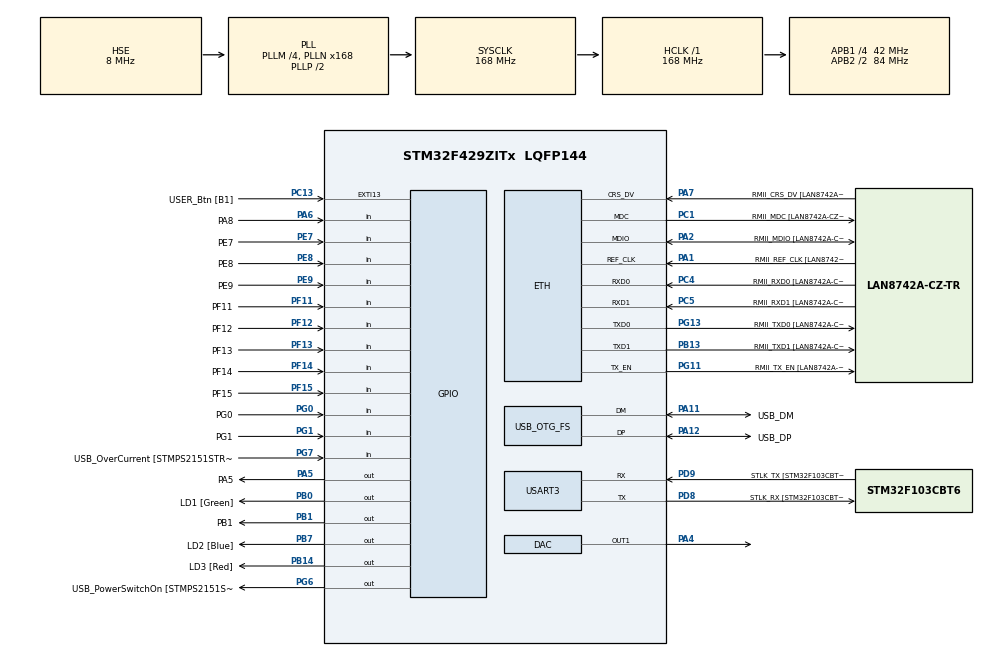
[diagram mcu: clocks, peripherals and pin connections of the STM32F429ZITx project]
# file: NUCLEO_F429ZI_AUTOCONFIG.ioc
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DAC.DAC_Trigger=DAC_TRIGGER_T7_TRGO
DAC.TriangleAmplitude=DAC_TRIANGLEAMPLITUDE_1023
DAC.WaveGeneration=TriangleWaveGeneration
Dma.Request0=USART3_RX
Dma.USART3_RX.0.Direction=DMA_PERIPH_TO_MEMORY
Dma.USART3_RX.0.FIFOMode=DMA_FIFOMODE_DISABLE
Dma.USART3_RX.0.Instance=DMA1_Stream1
Dma.USART3_RX.0.MemDataAlignment=DMA_MDATAALIGN_BYTE
Dma.USART3_RX.0.MemInc=DMA_MINC_ENABLE
Dma.USART3_RX.0.Mode=DMA_CIRCULAR
Dma.USART3_RX.0.PeriphDataAlignment=DMA_PDATAALIGN_BYTE
Dma.USART3_RX.0.PeriphInc=DMA_PINC_DISABLE
Dma.USART3_RX.0.Priority=DMA_PRIORITY_LOW
ETH.MACAddr=00\:80\:E1\:01\:23\:45
ETH.MediaInterface=HAL_ETH_RMII_MODE
ETH.PHY_Name=LAN8742A_PHY_ADDRESS
ETH.PHY_Value=0
ETH.PhyAddress=0
FREERTOS.Tasks01=defaultTask,0,1024,StartDefaultTask,Default,NULL,Dynamic,NULL,NULL
FREERTOS.configTOTAL_HEAP_SIZE=32768
LWIP.BSP.number=1
LWIP.Version=v2.1.2_Cube
LWIP0.BSP.STBoard=false
LWIP0.BSP.api=BSP_COMPONENT_DRIVER
LWIP0.BSP.component=LAN8742
LWIP0.BSP.instance=LAN8742
LWIP0.BSP.name=Driver_PHY
LWIP0.BSP.semaphore=S_LAN8742
LWIP0.BSP.solution=LAN8742
Mcu.Family=STM32F4
Mcu.Name=STM32F429ZITx
Mcu.Package=LQFP144
NVIC.DMA1_Stream1_IRQn=true\:5\:0\:false\:false\:true\:true\:false\:true\:true
NVIC.ETH_IRQn=true\:5\:0\:false\:false\:true\:true\:false\:true\:true
NVIC.PriorityGroup=NVIC_PRIORITYGROUP_4
NVIC.TIM1_BRK_TIM9_IRQn=true\:5\:0\:false\:false\:true\:true\:true\:true\:true
NVIC.TIM7_IRQn=true\:5\:0\:false\:false\:true\:true\:true\:true\:true
NVIC.TIM8_TRG_COM_TIM14_IRQn=true\:15\:0\:false\:false\:true\:false\:false\:true\:true
NVIC.TimeBase=TIM8_TRG_COM_TIM14_IRQn
NVIC.TimeBaseIP=TIM14
PA1.GPIO_Label=RMII_REF_CLK [LAN8742A-CZ-TR_REFCLK0]
PA1.Mode=RMII
PA1.Signal=ETH_REF_CLK
PA10.GPIO_Label=USB_ID
PA10.Signal=USB_OTG_FS_ID
PA11.GPIO_Label=USB_DM
PA11.Mode=Device_Only
PA11.Signal=USB_OTG_FS_DM
PA12.GPIO_Label=USB_DP
PA12.Mode=Device_Only
PA12.Signal=USB_OTG_FS_DP
PA13.GPIO_Label=TMS
PA13.Mode=Serial_Wire
PA13.Signal=SYS_JTMS-SWDIO
PA14.GPIO_Label=TCK
PA14.Mode=Serial_Wire
PA14.Signal=SYS_JTCK-SWCLK
PA2.GPIO_Label=RMII_MDIO [LAN8742A-CZ-TR_MDIO]
PA2.Mode=RMII
PA2.Signal=ETH_MDIO
PA4.Signal=COMP_DAC1_group
PA5.GPIO_Label=PA5
PA5.Signal=GPIO_Output
PA6.GPIO_Label=PA8
PA6.GPIO_Mode=GPIO_MODE_INPUT
PA6.GPIO_PuPd=GPIO_PULLUP
PA6.Signal=GPIO_Input
PA7.GPIO_Label=RMII_CRS_DV [LAN8742A-CZ-TR_CRS_DV]
PA7.Mode=RMII
PA7.Signal=ETH_CRS_DV
PA8.GPIO_Label=USB_SOF [TP1]
PA8.Signal=USB_OTG_FS_SOF
PA9.GPIO_Label=USB_VBUS
PA9.Signal=USB_OTG_FS_VBUS
PB0.GPIO_Label=LD1 [Green]
PB0.Signal=GPIO_Output
PB1.GPIO_Label=PB1
PB1.Signal=GPIO_Output
PB13.GPIO_Label=RMII_TXD1 [LAN8742A-CZ-TR_TXD1]
PB13.Mode=RMII
PB13.Signal=ETH_TXD1
PB14.GPIO_Label=LD3 [Red]
PB14.Signal=GPIO_Output
PB7.GPIO_Label=LD2 [Blue]
PB7.Signal=GPIO_Output
PC1.GPIO_Label=RMII_MDC [LAN8742A-CZ-TR_MDC]
PC1.Mode=RMII
PC1.Signal=ETH_MDC
PC13.GPIO_Label=USER_Btn [B1]
PC13.Signal=GPXTI13
PC14/OSC32_IN.Mode=LSE-External-Oscillator
PC14/OSC32_IN.Signal=RCC_OSC32_IN
PC15/OSC32_OUT.Mode=LSE-External-Oscillator
PC15/OSC32_OUT.Signal=RCC_OSC32_OUT
PC4.GPIO_Label=RMII_RXD0 [LAN8742A-CZ-TR_RXD0]
PC4.Mode=RMII
PC4.Signal=ETH_RXD0
PC5.GPIO_Label=RMII_RXD1 [LAN8742A-CZ-TR_RXD1]
PC5.Mode=RMII
PC5.Signal=ETH_RXD1
PD8.GPIO_Label=STLK_RX [STM32F103CBT6_PA3]
PD8.Mode=Asynchronous
PD8.Signal=USART3_TX
PD9.GPIO_Label=STLK_TX [STM32F103CBT6_PA2]
PD9.Mode=Asynchronous
PD9.Signal=USART3_RX
PE7.GPIO_Label=PE7
PE7.GPIO_Mode=GPIO_MODE_INPUT
PE7.GPIO_PuPd=GPIO_PULLUP
PE7.Signal=GPIO_Input
PE8.GPIO_Label=PE8
PE8.GPIO_Mode=GPIO_MODE_INPUT
PE8.GPIO_PuPd=GPIO_PULLUP
PE8.Signal=GPIO_Input
PE9.GPIO_Label=PE9
PE9.GPIO_Mode=GPIO_MODE_INPUT
PE9.GPIO_PuPd=GPIO_PULLUP
PE9.Signal=GPIO_Input
PF11.GPIO_Label=PF11
PF11.GPIO_Mode=GPIO_MODE_INPUT
PF11.GPIO_PuPd=GPIO_PULLUP
PF11.Signal=GPIO_Input
PF12.GPIO_Label=PF12
PF12.GPIO_Mode=GPIO_MODE_INPUT
PF12.GPIO_PuPd=GPIO_PULLUP
PF12.Signal=GPIO_Input
PF13.GPIO_Label=PF13
PF13.GPIO_Mode=GPIO_MODE_INPUT
PF13.GPIO_PuPd=GPIO_PULLUP
PF13.Signal=GPIO_Input
PF14.GPIO_Label=PF14
PF14.GPIO_Mode=GPIO_MODE_INPUT
PF14.GPIO_PuPd=GPIO_PULLUP
PF14.Signal=GPIO_Input
PF15.GPIO_Label=PF15
PF15.GPIO_Mode=GPIO_MODE_INPUT
PF15.GPIO_PuPd=GPIO_PULLUP
PF15.Signal=GPIO_Input
PG0.GPIO_Label=PG0
PG0.GPIO_Mode=GPIO_MODE_INPUT
PG0.GPIO_PuPd=GPIO_PULLUP
PG0.Signal=GPIO_Input
PG1.GPIO_Label=PG1
PG1.GPIO_Mode=GPIO_MODE_INPUT
PG1.GPIO_PuPd=GPIO_PULLUP
PG1.Signal=GPIO_Input
PG11.GPIO_Label=RMII_TX_EN [LAN8742A-CZ-TR_TXEN]
PG11.Mode=RMII
PG11.Signal=ETH_TX_EN
PG13.GPIO_Label=RMII_TXD0 [LAN8742A-CZ-TR_TXD0]
PG13.Mode=RMII
PG13.Signal=ETH_TXD0
PG6.GPIO_Label=USB_PowerSwitchOn [STMPS2151STR_EN]
PG6.Signal=GPIO_Output
PG7.GPIO_Label=USB_OverCurrent [STMPS2151STR_FAULT]
PG7.Signal=GPIO_Input
PH0/OSC_IN.GPIO_Label=MCO [STM32F103CBT6_PA8]
PH0/OSC_IN.Mode=HSE-External-Clock-Source
PH0/OSC_IN.Signal=RCC_OSC_IN
PH1/OSC_OUT.Mode=HSE-External-Clock-Source
PH1/OSC_OUT.Signal=RCC_OSC_OUT
ProjectManager.HeapSize=0x200
ProjectManager.StackSize=0x400
ProjectManager.TargetToolchain=Makefile
RCC.48MHZClocksFreq_Value=48000000
RCC.AHBFreq_Value=168000000
RCC.APB1CLKDivider=RCC_HCLK_DIV4
RCC.APB1Freq_Value=42000000
RCC.APB1TimFreq_Value=84000000
RCC.APB2CLKDivider=RCC_HCLK_DIV2
RCC.APB2Freq_Value=84000000
RCC.APB2TimCLKDivider=2
RCC.APB2TimFreq_Value=168000000
RCC.CortexFreq_Value=168000000
RCC.HCLKFreq_Value=168000000
RCC.HSE_VALUE=8000000
RCC.HSI_VALUE=16000000
RCC.PLLM=4
RCC.PLLMUL=RCC_PLL_MUL9
RCC.PLLN=168
RCC.PLLQ=7
RCC.PRESCALERUSB=RCC_USBCLKSOURCE_PLL_DIV1_5
RCC.SYSCLKFreq_VALUE=168000000
RCC.SYSCLKSource=RCC_SYSCLKSOURCE_PLLCLK
RCC.SYSCLKSourceVirtual=RCC_SYSCLKSOURCE_PLLCLK
RCC.USBFreq_Value=48000000
RCC.VCOOutputFreq_Value=336000000
SH.COMP_DAC1_group.0=DAC_OUT1,DAC_OUT1
TIM7.AutoReloadPreload=TIM_AUTORELOAD_PRELOAD_ENABLE
TIM7.Period=1
TIM7.Prescaler=1
TIM7.TIM_MasterOutputTrigger=TIM_TRGO_UPDATE
TIM9.AutoReloadPreload=TIM_AUTORELOAD_PRELOAD_DISABLE
TIM9.Period=1
TIM9.Prescaler=0
USART3.VirtualMode=VM_ASYNC
USB_OTG_FS.VirtualMode=Device_Only
VP_FREERTOS_VS_CMSIS_V1.Mode=CMSIS_V1
VP_LWIP_VS_Enabled.Mode=Enabled
VP_SYS_VS_tim14.Mode=TIM14
VP_TIM7_VS_ClockSourceINT.Mode=Enable_Timer
VP_TIM9_VS_ClockSourceINT.Mode=Internal
board=NUCLEO-F429ZI

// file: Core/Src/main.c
/* USER CODE BEGIN Header */
/**
  ******************************************************************************
  * @file           : main.c
  * @brief          : Main program body
  ******************************************************************************
  * @attention
  *
  * Copyright (c) 2022 STMicroelectronics.
  * All rights reserved.
  *
  * This software is licensed under terms that can be found in the LICENSE file
  * in the root directory of this software component.
  * If no LICENSE file comes with this software, it is provided AS-IS.
  *
  ******************************************************************************
  */
/* USER CODE END Header */
#include "main.h"
#include "cmsis_os.h"
#include "lwip.h"

/* USER CODE BEGIN Includes */
#include <stdio.h> //for printf
#include <string.h> //for printf
/* USER CODE END Includes */

/* USER CODE BEGIN PD */
const char * version = "date 24.08.2022, version 1.0, author: Filip Paul, contact: filip.paul@cevor.cz, mobile: +420 734 312 604";
extern void tcpecho_init(void);
extern void telnet_init(void);
extern struct netif gnetif;
uint16_t matrix_of_pins[] = {PE7_Pin, PE8_Pin, PE9_Pin, PF11_Pin, PF12_Pin, PF13_Pin, PF14_Pin, PF15_Pin};
GPIO_TypeDef * matrix_of_ports[] = {PE7_GPIO_Port, PE8_GPIO_Port, PE9_GPIO_Port, PF11_GPIO_Port, PF12_GPIO_Port, PF13_GPIO_Port, PF14_GPIO_Port, PF15_GPIO_Port};
uint16_t dac_value = 0;
/* USER CODE END PD */

DAC_HandleTypeDef hdac;

TIM_HandleTypeDef htim7;
TIM_HandleTypeDef htim9;

UART_HandleTypeDef huart3;
DMA_HandleTypeDef hdma_usart3_rx;

PCD_HandleTypeDef hpcd_USB_OTG_FS;

osThreadId defaultTaskHandle;
/* USER CODE BEGIN PV */
#define RX_BUFFER_LENGTH 64
static uint8_t uart_rx_buffer[RX_BUFFER_LENGTH];
static volatile uint16_t uart_rx_read_pointer = 0; //curent location of pointer
#define uart_rx_writ_pointer (RX_BUFFER_LENGTH - hdma_usart3_rx.Instance->NDTR)
//hdma_usart2_rx.Instance->CNDTR count of chars which were not alreade transfered

/* USER CODE END PV */

void SystemClock_Config(void);
static void MX_GPIO_Init(void);
static void MX_DMA_Init(void);
static void MX_USART3_UART_Init(void);
static void MX_USB_OTG_FS_PCD_Init(void);
static void MX_DAC_Init(void);
static void MX_TIM7_Init(void);
static void MX_TIM9_Init(void);
void StartDefaultTask(void const * argument);

/* USER CODE BEGIN PFP */
// OVERVRITE _write function with printf
int _write(int file, char *data, int len)
{
  HAL_UART_Transmit(&huart3, (uint8_t*)data, len, HAL_MAX_DELAY);
  return len;
}

static void uart_command_handler(char* command){
  char * token = strtok(command, " ");
  if(strcasecmp(token,"info") == 0){
    printf("firware version: %s\n",version);
    printf("Available commands:\n");
    printf("IP address: %s\n", ip4addr_ntoa(&gnetif.ip_addr));
    printf("Subnet: %s\n", ip4addr_ntoa(&gnetif.netmask));
    printf("telnet - at PORT 23\n");
    printf("tcpecho - at PORT 7\n");
  }

  else if(strcasecmp(token,"MEASURE") == 0){
    if(token != NULL){
      token = strtok(NULL, " ");
      if(strcasecmp(token,"MATRIX") == 0){
        printf("[");
        uint16_t net = 0;
        for (uint32_t i = 0; i < sizeof(matrix_of_ports)/sizeof(matrix_of_ports[0]); i++)
        {
          if (HAL_GPIO_ReadPin(matrix_of_ports[i], matrix_of_pins[i]) == GPIO_PIN_SET)
          {
            (i== sizeof(matrix_of_ports)/sizeof(matrix_of_ports[0])) ? printf("-1]\n") : printf("-1,");
          }
          else
          {
            (i == sizeof(matrix_of_ports)/sizeof(matrix_of_ports[0])) ? printf("%u]\n",net++) : printf("%u,",net++);
          }
        }

      }
    }
  }

  else{
    printf("Unknown command: %s\n", token);
  }
}

static void uart_byte_handler(char received_byte){
  static uint16_t data_pointer;
  static char data_buffer[RX_BUFFER_LENGTH];
  if(data_pointer < RX_BUFFER_LENGTH && received_byte >= 32 && received_byte <= 126){
    // received_byte >= 32 && received_byte <= 126 - printable ASCII chars
    data_buffer[data_pointer++] = received_byte;
  }

  if ((received_byte == '\n' || received_byte == '\r') && data_pointer > 0){
    data_buffer[data_pointer] = '\0'; //make c string from bytearray
    data_pointer = 0;
    uart_command_handler(data_buffer);
  }

}

/* USER CODE END PFP */

int main(void)
{

  /* MCU Configuration--------------------------------------------------------*/

  /* Reset of all peripherals, Initializes the Flash interface and the Systick. */
  HAL_Init();

  /* Configure the system clock */
  SystemClock_Config();

  /* Initialize all configured peripherals */
  MX_GPIO_Init();
  MX_DMA_Init();
  MX_USART3_UART_Init();
  MX_USB_OTG_FS_PCD_Init();
  MX_DAC_Init();
  MX_TIM7_Init();
  MX_TIM9_Init();
  /* USER CODE BEGIN 2 */
  HAL_UART_Receive_DMA(&huart3, uart_rx_buffer, RX_BUFFER_LENGTH);
  HAL_DAC_Start(&hdac, DAC_CHANNEL_1);
  HAL_TIM_Base_Start(&htim7);
  HAL_TIM_Base_Start_IT(&htim9);
  /* USER CODE END 2 */

  /* Create the thread(s) */
  /* definition and creation of defaultTask */
  osThreadDef(defaultTask, StartDefaultTask, osPriorityNormal, 0, 1024);
  defaultTaskHandle = osThreadCreate(osThread(defaultTask), NULL);

  /* Start scheduler */
  osKernelStart();

  /* We should never get here as control is now taken by the scheduler */
  /* Infinite loop */
  while (1)
  {

  }
}

void SystemClock_Config(void)
{
  RCC_OscInitTypeDef RCC_OscInitStruct = {0};
  RCC_ClkInitTypeDef RCC_ClkInitStruct = {0};

  /** Configure the main internal regulator output voltage
  */
  __HAL_RCC_PWR_CLK_ENABLE();
  __HAL_PWR_VOLTAGESCALING_CONFIG(PWR_REGULATOR_VOLTAGE_SCALE1);

  /** Initializes the RCC Oscillators according to the specified parameters
  * in the RCC_OscInitTypeDef structure.
  */
  RCC_OscInitStruct.OscillatorType = RCC_OSCILLATORTYPE_HSE;
  RCC_OscInitStruct.HSEState = RCC_HSE_BYPASS;
  RCC_OscInitStruct.PLL.PLLState = RCC_PLL_ON;
  RCC_OscInitStruct.PLL.PLLSource = RCC_PLLSOURCE_HSE;
  RCC_OscInitStruct.PLL.PLLM = 4;
  RCC_OscInitStruct.PLL.PLLN = 168;
  RCC_OscInitStruct.PLL.PLLP = RCC_PLLP_DIV2;
  RCC_OscInitStruct.PLL.PLLQ = 7;
  if (HAL_RCC_OscConfig(&RCC_OscInitStruct) != HAL_OK)
  {
    Error_Handler();
  }

  /** Initializes the CPU, AHB and APB buses clocks
  */
  RCC_ClkInitStruct.ClockType = RCC_CLOCKTYPE_HCLK|RCC_CLOCKTYPE_SYSCLK
                              |RCC_CLOCKTYPE_PCLK1|RCC_CLOCKTYPE_PCLK2;
  RCC_ClkInitStruct.SYSCLKSource = RCC_SYSCLKSOURCE_PLLCLK;
  RCC_ClkInitStruct.AHBCLKDivider = RCC_SYSCLK_DIV1;
  RCC_ClkInitStruct.APB1CLKDivider = RCC_HCLK_DIV4;
  RCC_ClkInitStruct.APB2CLKDivider = RCC_HCLK_DIV2;

  if (HAL_RCC_ClockConfig(&RCC_ClkInitStruct, FLASH_LATENCY_5) != HAL_OK)
  {
    Error_Handler();
  }
}

static void MX_DAC_Init(void)
{

  DAC_ChannelConfTypeDef sConfig = {0};

  /** DAC Initialization
  */
  hdac.Instance = DAC;
  if (HAL_DAC_Init(&hdac) != HAL_OK)
  {
    Error_Handler();
  }

  /** DAC channel OUT1 config
  */
  sConfig.DAC_Trigger = DAC_TRIGGER_T7_TRGO;
  sConfig.DAC_OutputBuffer = DAC_OUTPUTBUFFER_ENABLE;
  if (HAL_DAC_ConfigChannel(&hdac, &sConfig, DAC_CHANNEL_1) != HAL_OK)
  {
    Error_Handler();
  }

  /** Configure Triangle wave generation on DAC OUT1
  */
  if (HAL_DACEx_TriangleWaveGenerate(&hdac, DAC_CHANNEL_1, DAC_TRIANGLEAMPLITUDE_1023) != HAL_OK)
  {
    Error_Handler();
  }

}

static void MX_TIM7_Init(void)
{

  TIM_MasterConfigTypeDef sMasterConfig = {0};

  htim7.Instance = TIM7;
  htim7.Init.Prescaler = 1;
  htim7.Init.CounterMode = TIM_COUNTERMODE_UP;
  htim7.Init.Period = 1;
  htim7.Init.AutoReloadPreload = TIM_AUTORELOAD_PRELOAD_ENABLE;
  if (HAL_TIM_Base_Init(&htim7) != HAL_OK)
  {
    Error_Handler();
  }
  sMasterConfig.MasterOutputTrigger = TIM_TRGO_UPDATE;
  sMasterConfig.MasterSlaveMode = TIM_MASTERSLAVEMODE_DISABLE;
  if (HAL_TIMEx_MasterConfigSynchronization(&htim7, &sMasterConfig) != HAL_OK)
  {
    Error_Handler();
  }

}

static void MX_TIM9_Init(void)
{

  TIM_ClockConfigTypeDef sClockSourceConfig = {0};

  htim9.Instance = TIM9;
  htim9.Init.Prescaler = 0;
  htim9.Init.CounterMode = TIM_COUNTERMODE_UP;
  htim9.Init.Period = 1;
  htim9.Init.ClockDivision = TIM_CLOCKDIVISION_DIV1;
  htim9.Init.AutoReloadPreload = TIM_AUTORELOAD_PRELOAD_DISABLE;
  if (HAL_TIM_Base_Init(&htim9) != HAL_OK)
  {
    Error_Handler();
  }
  sClockSourceConfig.ClockSource = TIM_CLOCKSOURCE_INTERNAL;
  if (HAL_TIM_ConfigClockSource(&htim9, &sClockSourceConfig) != HAL_OK)
  {
    Error_Handler();
  }

}

static void MX_USART3_UART_Init(void)
{

  huart3.Instance = USART3;
  huart3.Init.BaudRate = 115200;
  huart3.Init.WordLength = UART_WORDLENGTH_8B;
  huart3.Init.StopBits = UART_STOPBITS_1;
  huart3.Init.Parity = UART_PARITY_NONE;
  huart3.Init.Mode = UART_MODE_TX_RX;
  huart3.Init.HwFlowCtl = UART_HWCONTROL_NONE;
  huart3.Init.OverSampling = UART_OVERSAMPLING_16;
  if (HAL_UART_Init(&huart3) != HAL_OK)
  {
    Error_Handler();
  }

}

static void MX_USB_OTG_FS_PCD_Init(void)
{

  hpcd_USB_OTG_FS.Instance = USB_OTG_FS;
  hpcd_USB_OTG_FS.Init.dev_endpoints = 4;
  hpcd_USB_OTG_FS.Init.speed = PCD_SPEED_FULL;
  hpcd_USB_OTG_FS.Init.dma_enable = DISABLE;
  hpcd_USB_OTG_FS.Init.phy_itface = PCD_PHY_EMBEDDED;
  hpcd_USB_OTG_FS.Init.Sof_enable = DISABLE;
  hpcd_USB_OTG_FS.Init.low_power_enable = DISABLE;
  hpcd_USB_OTG_FS.Init.lpm_enable = DISABLE;
  hpcd_USB_OTG_FS.Init.vbus_sensing_enable = DISABLE;
  hpcd_USB_OTG_FS.Init.use_dedicated_ep1 = DISABLE;
  if (HAL_PCD_Init(&hpcd_USB_OTG_FS) != HAL_OK)
  {
    Error_Handler();
  }

}

static void MX_DMA_Init(void)
{

  /* DMA controller clock enable */
  __HAL_RCC_DMA1_CLK_ENABLE();

  /* DMA interrupt init */
  /* DMA1_Stream1_IRQn interrupt configuration */
  HAL_NVIC_SetPriority(DMA1_Stream1_IRQn, 5, 0);
  HAL_NVIC_EnableIRQ(DMA1_Stream1_IRQn);

}

static void MX_GPIO_Init(void)
{
  GPIO_InitTypeDef GPIO_InitStruct = {0};

  /* GPIO Ports Clock Enable */
  __HAL_RCC_GPIOC_CLK_ENABLE();
  __HAL_RCC_GPIOH_CLK_ENABLE();
  __HAL_RCC_GPIOA_CLK_ENABLE();
  __HAL_RCC_GPIOB_CLK_ENABLE();
  __HAL_RCC_GPIOF_CLK_ENABLE();
  __HAL_RCC_GPIOG_CLK_ENABLE();
  __HAL_RCC_GPIOE_CLK_ENABLE();
  __HAL_RCC_GPIOD_CLK_ENABLE();

  /*Configure GPIO pin Output Level */
  HAL_GPIO_WritePin(PA5_GPIO_Port, PA5_Pin, GPIO_PIN_RESET);

  /*Configure GPIO pin Output Level */
  HAL_GPIO_WritePin(GPIOB, LD1_Pin|PB1_Pin|LD3_Pin|LD2_Pin, GPIO_PIN_RESET);

  /*Configure GPIO pin Output Level */
  HAL_GPIO_WritePin(USB_PowerSwitchOn_GPIO_Port, USB_PowerSwitchOn_Pin, GPIO_PIN_RESET);

  /*Configure GPIO pin : USER_Btn_Pin */
  GPIO_InitStruct.Pin = USER_Btn_Pin;
  GPIO_InitStruct.Mode = GPIO_MODE_IT_RISING;
  GPIO_InitStruct.Pull = GPIO_NOPULL;
  HAL_GPIO_Init(USER_Btn_GPIO_Port, &GPIO_InitStruct);

  /*Configure GPIO pin : PA5_Pin */
  GPIO_InitStruct.Pin = PA5_Pin;
  GPIO_InitStruct.Mode = GPIO_MODE_OUTPUT_PP;
  GPIO_InitStruct.Pull = GPIO_NOPULL;
  GPIO_InitStruct.Speed = GPIO_SPEED_FREQ_LOW;
  HAL_GPIO_Init(PA5_GPIO_Port, &GPIO_InitStruct);

  /*Configure GPIO pin : PA8_Pin */
  GPIO_InitStruct.Pin = PA8_Pin;
  GPIO_InitStruct.Mode = GPIO_MODE_INPUT;
  GPIO_InitStruct.Pull = GPIO_PULLUP;
  HAL_GPIO_Init(PA8_GPIO_Port, &GPIO_InitStruct);

  /*Configure GPIO pins : LD1_Pin PB1_Pin LD3_Pin LD2_Pin */
  GPIO_InitStruct.Pin = LD1_Pin|PB1_Pin|LD3_Pin|LD2_Pin;
  GPIO_InitStruct.Mode = GPIO_MODE_OUTPUT_PP;
  GPIO_InitStruct.Pull = GPIO_NOPULL;
  GPIO_InitStruct.Speed = GPIO_SPEED_FREQ_LOW;
  HAL_GPIO_Init(GPIOB, &GPIO_InitStruct);

  /*Configure GPIO pins : PF11_Pin PF12_Pin PF13_Pin PF14_Pin
                           PF15_Pin */
  GPIO_InitStruct.Pin = PF11_Pin|PF12_Pin|PF13_Pin|PF14_Pin
                          |PF15_Pin;
  GPIO_InitStruct.Mode = GPIO_MODE_INPUT;
  GPIO_InitStruct.Pull = GPIO_PULLUP;
  HAL_GPIO_Init(GPIOF, &GPIO_InitStruct);

  /*Configure GPIO pins : PG0_Pin PG1_Pin */
  GPIO_InitStruct.Pin = PG0_Pin|PG1_Pin;
  GPIO_InitStruct.Mode = GPIO_MODE_INPUT;
  GPIO_InitStruct.Pull = GPIO_PULLUP;
  HAL_GPIO_Init(GPIOG, &GPIO_InitStruct);

  /*Configure GPIO pins : PE7_Pin PE8_Pin PE9_Pin */
  GPIO_InitStruct.Pin = PE7_Pin|PE8_Pin|PE9_Pin;
  GPIO_InitStruct.Mode = GPIO_MODE_INPUT;
  GPIO_InitStruct.Pull = GPIO_PULLUP;
  HAL_GPIO_Init(GPIOE, &GPIO_InitStruct);

  /*Configure GPIO pin : USB_PowerSwitchOn_Pin */
  GPIO_InitStruct.Pin = USB_PowerSwitchOn_Pin;
  GPIO_InitStruct.Mode = GPIO_MODE_OUTPUT_PP;
  GPIO_InitStruct.Pull = GPIO_NOPULL;
  GPIO_InitStruct.Speed = GPIO_SPEED_FREQ_LOW;
  HAL_GPIO_Init(USB_PowerSwitchOn_GPIO_Port, &GPIO_InitStruct);

  /*Configure GPIO pin : USB_OverCurrent_Pin */
  GPIO_InitStruct.Pin = USB_OverCurrent_Pin;
  GPIO_InitStruct.Mode = GPIO_MODE_INPUT;
  GPIO_InitStruct.Pull = GPIO_NOPULL;
  HAL_GPIO_Init(USB_OverCurrent_GPIO_Port, &GPIO_InitStruct);

}

void StartDefaultTask(void const * argument)
{
  /* init code for LWIP */
  MX_LWIP_Init();
  /* USER CODE BEGIN 5 */
  /* init tcp echo server */
  tcpecho_init();
  telnet_init();

  for(;;)
  {
    while (uart_rx_read_pointer != uart_rx_writ_pointer)
    {
      uint8_t received_byte = uart_rx_buffer[uart_rx_read_pointer];
      if (++uart_rx_read_pointer >= RX_BUFFER_LENGTH)
      {
        uart_rx_read_pointer = 0;
      }
      uart_byte_handler(received_byte);
    }

    osDelay(1);
  }
  /* USER CODE END 5 */
}

void HAL_TIM_PeriodElapsedCallback(TIM_HandleTypeDef *htim)
{
  /* USER CODE BEGIN Callback 0 */
  if (htim->Instance == TIM7) {
    //(dac_value == 4095) ? dac_value=0 : (dac_value++);
    //HAL_DAC_SetValue(&hdac, DAC_CHANNEL_1, DAC_ALIGN_12B_R, dac_value);

  }

  if (htim->Instance == TIM9) {
    HAL_GPIO_TogglePin(PB1_GPIO_Port,PB1_Pin);

  }
  /* USER CODE END Callback 0 */
  if (htim->Instance == TIM14) {
    HAL_IncTick();
  }
}

void Error_Handler(void)
{
  __disable_irq();
  while (1)
  {
  }
}
